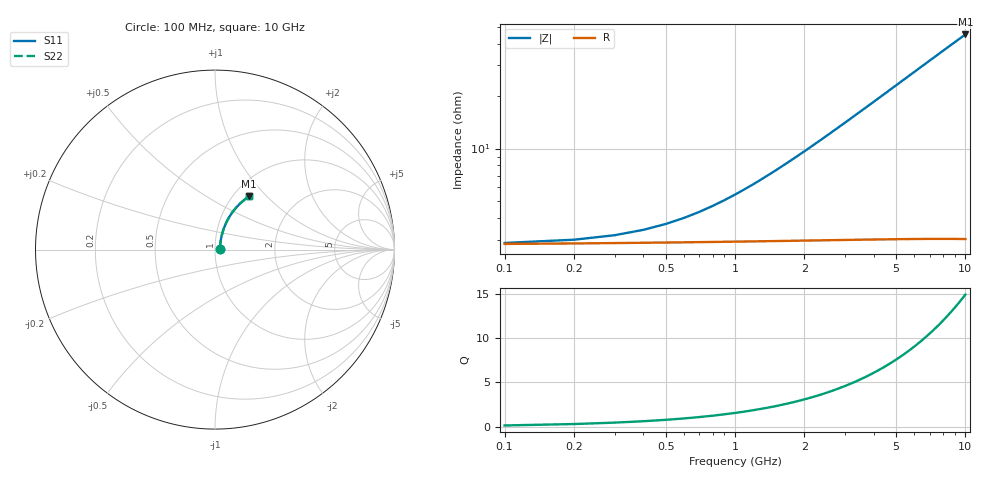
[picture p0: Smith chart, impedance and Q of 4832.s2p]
# Hz S RI R 50.00
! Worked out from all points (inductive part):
!   100 points, 100 MHz to 10 GHz, reference 50 ohm
!   read as one part in series: L = 729 pH near 2 GHz
!   highest Q = 14.9 at 10 GHz (marker M1), where L = 717 pH
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1e8  0.0276 0.00368  0.9724 -0.005  0.9724 -0.005  0.0276 0.00368
2e8  0.0278 0.00735  0.9722 -0.01  0.9722 -0.01  0.0278 0.00735
3e8  0.028 0.011  0.972 -0.015  0.972 -0.015  0.028 0.011
4e8  0.0283 0.0147  0.9717 -0.02  0.9717 -0.02  0.0283 0.0147
1e9  0.0303 0.0366  0.9696 -0.0499  0.9696 -0.0499  0.0303 0.0366
1.2e9  0.0312 0.0439  0.9687 -0.0598  0.9687 -0.0598  0.0312 0.0439
1.5e9  0.0329 0.0548  0.9669 -0.0746  0.9669 -0.0746  0.0329 0.0548
1.8e9  0.0348 0.0656  0.9649 -0.0894  0.9649 -0.0894  0.0348 0.0656
2.1e9  0.0371 0.0763  0.9625 -0.104  0.9625 -0.104  0.0371 0.0763
2.5e9  0.0406 0.0904  0.9588 -0.1235  0.9588 -0.1235  0.0406 0.0904
2.9e9  0.0447 0.1043  0.9545 -0.1427  0.9545 -0.1427  0.0447 0.1043
3.4e9  0.0506 0.1214  0.9484 -0.1664  0.9484 -0.1664  0.0506 0.1214
3.8e9  0.0559 0.1348  0.9428 -0.1851  0.9428 -0.1851  0.0559 0.1348
4.2e9  0.0616 0.1479  0.9367 -0.2036  0.9367 -0.2036  0.0616 0.1479
4.6e9  0.0679 0.1608  0.9301 -0.2217  0.9301 -0.2217  0.0679 0.1608
5.1e9  0.0764 0.1763  0.9212 -0.2439  0.9212 -0.2439  0.0764 0.1763
5.9e9  0.0915 0.2001  0.9054 -0.2783  0.9054 -0.2783  0.0915 0.2001
6.7e9  0.1081 0.2223  0.8878 -0.3112  0.8878 -0.3112  0.1081 0.2223
7.5e9  0.1262 0.2429  0.8687 -0.3425  0.8687 -0.3425  0.1262 0.2429
8.4e9  0.148 0.264  0.8456 -0.3757  0.8456 -0.3757  0.148 0.264
9.2e9  0.1684 0.2809  0.8238 -0.4033  0.8238 -0.4033  0.1684 0.2809
1e10  0.1897 0.2959  0.8011 -0.4292  0.8011 -0.4292  0.1897 0.2959
